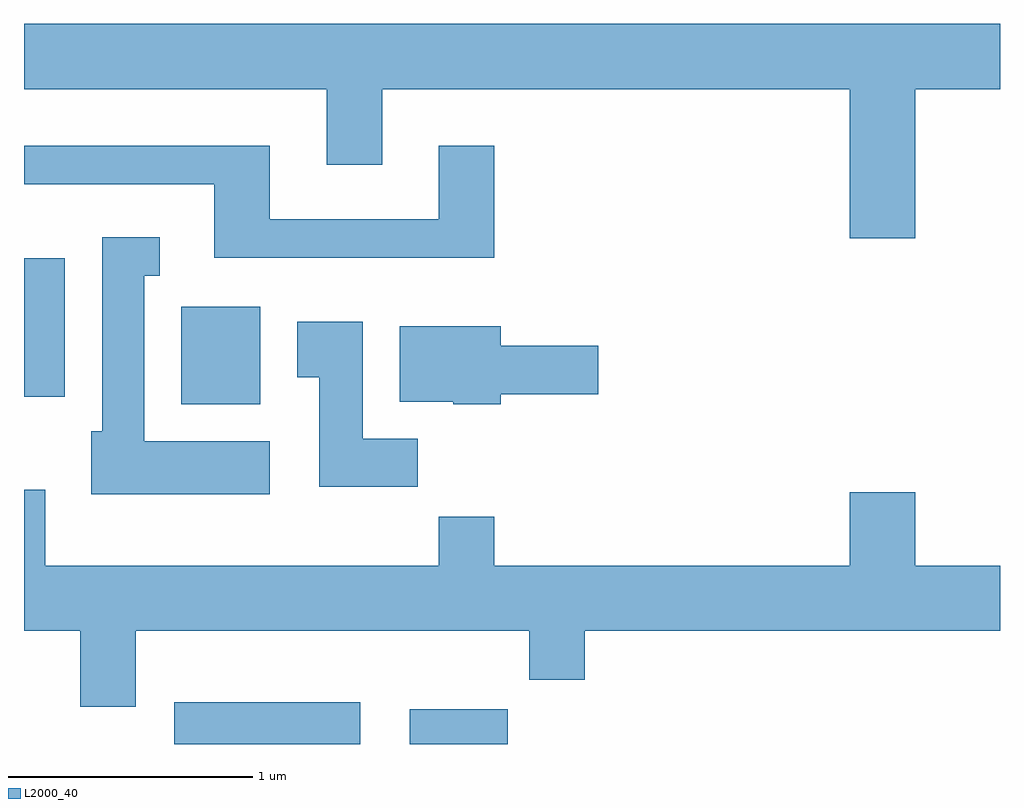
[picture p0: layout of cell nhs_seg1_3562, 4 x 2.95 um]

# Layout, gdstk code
import gdstk
lib = gdstk.Library(unit=1e-6, precision=1e-09)
def R(c, l, rs):  # rectangles x0, y0, x1, y1
    for r in rs: c.add(gdstk.rectangle(r[:2], r[2:], *l))
def P(c, l, *ps):  # polygons
    for p in ps: c.add(gdstk.Polygon(p, *l))
L2000_40 = (2000, 40)

nhs_seg1_3562 = lib.new_cell('nhs_seg1_3562')
R(nhs_seg1_3562, L2000_40, [(292.226,965.712,292.989,965.884), (293.191,965.712,293.594,965.854), (292.256,967.106,292.579,967.504), (291.611,967.136,291.779,967.704)])
P(nhs_seg1_3562, L2000_40, [(295.264,968.396),(295.611,968.396),(295.611,968.664),(291.611,968.664),(291.611,968.396),(292.851,968.396),(292.851,968.086),(293.079,968.086),(293.079,968.396),(294.996,968.396),(294.996,967.786),(295.264,967.786)],
  [(293.539,968.164),(293.311,968.164),(293.311,967.864),(292.619,967.864),(292.619,968.164),(291.611,968.164),(291.611,968.006),(292.391,968.006),(292.391,967.706),(293.539,967.706)],
  [(292.619,966.954),(292.104,966.954),(292.104,967.631),(292.168,967.631),(292.168,967.789),(291.931,967.789),(291.931,966.994),(291.886,966.994),(291.886,966.736),(292.619,966.736)],
  [(293.224,966.964),(292.999,966.964),(292.999,967.444),(292.731,967.444),(292.731,967.216),(292.821,967.216),(292.821,966.766),(293.224,966.766)],
  [(293.564,967.146),(293.964,967.146),(293.964,967.344),(293.564,967.344),(293.564,967.424),(293.151,967.424),(293.151,967.116),(293.37,967.116),(293.37,967.106),(293.564,967.106)],
  [(292.069,966.176),(293.681,966.176),(293.681,965.976),(293.909,965.976),(293.909,966.176),(295.611,966.176),(295.611,966.444),(295.264,966.444),(295.264,966.744),(294.996,966.744),(294.996,966.444),(293.539,966.444),(293.539,966.644),(293.311,966.644),(293.311,966.444),(291.699,966.444),(291.699,966.754),(291.611,966.754),(291.611,966.176),(291.841,966.176),(291.841,965.866),(292.069,965.866)])

lib.write_gds('nhs_seg1_3562.gds')
